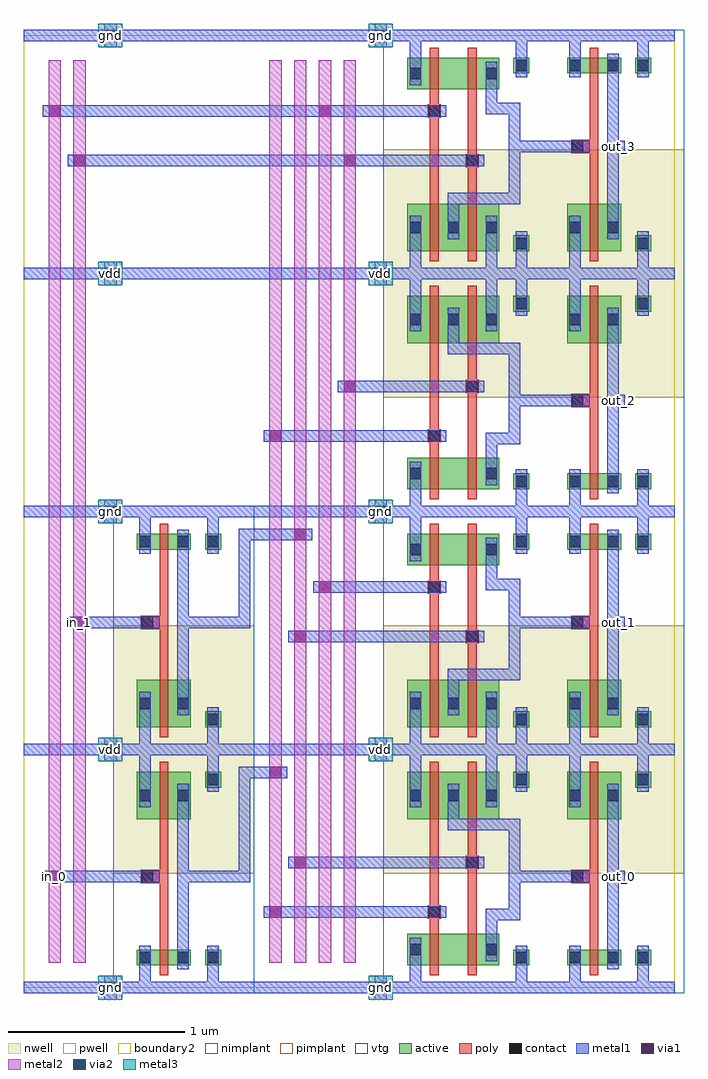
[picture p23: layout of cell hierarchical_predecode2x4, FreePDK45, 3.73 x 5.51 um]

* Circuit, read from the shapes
.subckt hierarchical_predecode2x4 gnd in_0 in_1 out_0 out_1 out_2 out_3 vdd
M1 and2_dec_2/A in_0 gnd gnd nfet w=0.09u l=0.05u
M2 and2_dec_2/B in_1 gnd gnd nfet w=0.09u l=0.05u
M3 and2_dec_2/pnand2_0/nmos_m1_w0_180_sm1_dactive_2/D and2_dec_2/A gnd gnd nfet w=0.18u l=0.05u
M4 and2_dec_3/pnand2_0/nmos_m1_w0_180_sm1_dactive_2/D in_0 gnd gnd nfet w=0.18u l=0.05u
M5 and2_dec_4/pnand2_0/nmos_m1_w0_180_sm1_dactive_2/D and2_dec_2/A gnd gnd nfet w=0.18u l=0.05u
M6 and2_dec_5/pnand2_0/nmos_m1_w0_180_sm1_dactive_2/D in_0 gnd gnd nfet w=0.18u l=0.05u
M7 and2_dec_2/pinv_1/A and2_dec_2/B and2_dec_2/pnand2_0/nmos_m1_w0_180_sm1_dactive_2/D gnd nfet w=0.18u l=0.05u
M8 and2_dec_3/pinv_1/A and2_dec_2/B and2_dec_3/pnand2_0/nmos_m1_w0_180_sm1_dactive_2/D gnd nfet w=0.18u l=0.05u
M9 and2_dec_4/pinv_1/A in_1 and2_dec_4/pnand2_0/nmos_m1_w0_180_sm1_dactive_2/D gnd nfet w=0.18u l=0.05u
M10 and2_dec_5/pinv_1/A in_1 and2_dec_5/pnand2_0/nmos_m1_w0_180_sm1_dactive_2/D gnd nfet w=0.18u l=0.05u
M11 out_0 and2_dec_2/pinv_1/A gnd gnd nfet w=0.09u l=0.05u
M12 out_1 and2_dec_3/pinv_1/A gnd gnd nfet w=0.09u l=0.05u
M13 out_2 and2_dec_4/pinv_1/A gnd gnd nfet w=0.09u l=0.05u
M14 out_3 and2_dec_5/pinv_1/A gnd gnd nfet w=0.09u l=0.05u
M15 and2_dec_2/A in_0 vdd vdd pfet w=0.27u l=0.05u
M16 and2_dec_2/B in_1 vdd vdd pfet w=0.27u l=0.05u
M17 and2_dec_2/pinv_1/A and2_dec_2/A vdd vdd pfet w=0.27u l=0.05u
M18 and2_dec_3/pinv_1/A in_0 vdd vdd pfet w=0.27u l=0.05u
M19 and2_dec_4/pinv_1/A and2_dec_2/A vdd vdd pfet w=0.27u l=0.05u
M20 and2_dec_5/pinv_1/A in_0 vdd vdd pfet w=0.27u l=0.05u
M21 vdd and2_dec_2/B and2_dec_2/pinv_1/A vdd pfet w=0.27u l=0.05u
M22 vdd and2_dec_2/B and2_dec_3/pinv_1/A vdd pfet w=0.27u l=0.05u
M23 vdd in_1 and2_dec_4/pinv_1/A vdd pfet w=0.27u l=0.05u
M24 vdd in_1 and2_dec_5/pinv_1/A vdd pfet w=0.27u l=0.05u
M25 out_0 and2_dec_2/pinv_1/A vdd vdd pfet w=0.27u l=0.05u
M26 out_1 and2_dec_3/pinv_1/A vdd vdd pfet w=0.27u l=0.05u
M27 out_2 and2_dec_4/pinv_1/A vdd vdd pfet w=0.27u l=0.05u
M28 out_3 and2_dec_5/pinv_1/A vdd vdd pfet w=0.27u l=0.05u
.ends

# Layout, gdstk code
import gdstk
lib = gdstk.Library(unit=1e-6, precision=5e-10)
def R(c, l, rs):  # rectangles x0, y0, x1, y1
    for r in rs: c.add(gdstk.rectangle(r[:2], r[2:], *l))
def A(c, l, x, y, w, h, nx, ny, dx, dy):  # array of equal rectangles
    R(c, l, [(x+i*dx, y+j*dy, x+i*dx+w, y+j*dy+h) for i in range(nx) for j in range(ny)])
active = (1, 0)
pwell = (2, 0)
nwell = (3, 0)
nimplant = (4, 0)
pimplant = (5, 0)
vtg = (6, 0)
poly = (9, 0)
contact = (10, 0)
metal1 = (11, 0)
via1 = (12, 0)
metal2 = (13, 0)
via2 = (14, 0)
metal3 = (15, 0)
boundary2 = (239, 0)

contact_9 = lib.new_cell('contact_9')
R(contact_9, active, [(0,0.0225,0.09,0.1125)])
R(contact_9, nwell, [(-0.055,-0.0325,0.145,0.1675)])
R(contact_9, pimplant, [(0,0.0225,0.09,0.1125)])
R(contact_9, contact, [(0.0125,0.035,0.0775,0.1)])
R(contact_9, metal1, [(0.0125,0,0.0775,0.135)])
R(contact_9, boundary2, [(-0.055,-0.0325,0.145,0.1675)])

pmos_m1_w0_270_sm1_dm1_d = lib.new_cell('pmos_m1_w0_270_sm1_dm1_da_p')
R(pmos_m1_w0_270_sm1_dm1_d, active, [(0,0,0.305,0.27)])
R(pmos_m1_w0_270_sm1_dm1_d, nwell, [(-0.08,-0.08,0.385,0.35)])
R(pmos_m1_w0_270_sm1_dm1_d, pimplant, [(0,0,0.305,0.27)])
R(pmos_m1_w0_270_sm1_dm1_d, vtg, [(-0.08,-0.08,0.385,0.35)])
R(pmos_m1_w0_270_sm1_dm1_d, poly, [(0.1275,-0.055,0.1775,0.325), (0.1275,-0.055,0.1775,0.325)])
R(pmos_m1_w0_270_sm1_dm1_d, metal1, [(0.0125,0.0675,0.0775,0.2025), (0.2275,0.0675,0.2925,0.2025)])
R(pmos_m1_w0_270_sm1_dm1_d, boundary2, [(-0.08,-0.08,0.385,0.35)])
pmos_m1_w0_270_sm1_dm1_d.add(gdstk.Reference(contact_9, (0,0.0675)))
pmos_m1_w0_270_sm1_dm1_d.add(gdstk.Reference(contact_9, (0.215,0.0675)))
pmos_m1_w0_270_sm1_dm1_d.add(gdstk.Label('G', (0.1525,0.135), layer=9, texttype=0))
pmos_m1_w0_270_sm1_dm1_d.add(gdstk.Label('S', (0.045,0.135), layer=11, texttype=0))
pmos_m1_w0_270_sm1_dm1_d.add(gdstk.Label('D', (0.26,0.135), layer=11, texttype=0))

contact_14 = lib.new_cell('contact_14')
R(contact_14, active, [(0,0.0225,0.09,0.1125)])
R(contact_14, pwell, [(-0.055,-0.0325,0.145,0.1675)])
R(contact_14, nimplant, [(0,0.0225,0.09,0.1125)])
R(contact_14, contact, [(0.0125,0.035,0.0775,0.1)])
R(contact_14, metal1, [(0.0125,0,0.0775,0.135)])
R(contact_14, boundary2, [(-0.055,-0.0325,0.145,0.1675)])

nmos_m1_w0_090_sm1_dm1_d = lib.new_cell('nmos_m1_w0_090_sm1_dm1_da_p')
R(nmos_m1_w0_090_sm1_dm1_d, active, [(0,0,0.305,0.09)])
R(nmos_m1_w0_090_sm1_dm1_d, pwell, [(-0.08,-0.08,0.385,0.17)])
R(nmos_m1_w0_090_sm1_dm1_d, nimplant, [(0,0,0.305,0.09)])
R(nmos_m1_w0_090_sm1_dm1_d, vtg, [(-0.08,-0.08,0.385,0.17)])
R(nmos_m1_w0_090_sm1_dm1_d, poly, [(0.1275,-0.055,0.1775,0.145), (0.1275,-0.055,0.1775,0.145)])
R(nmos_m1_w0_090_sm1_dm1_d, metal1, [(0.0125,-0.0225,0.0775,0.1125), (0.2275,-0.0225,0.2925,0.1125)])
R(nmos_m1_w0_090_sm1_dm1_d, boundary2, [(-0.08,-0.08,0.385,0.17)])
nmos_m1_w0_090_sm1_dm1_d.add(gdstk.Reference(contact_14, (0,-0.0225)))
nmos_m1_w0_090_sm1_dm1_d.add(gdstk.Reference(contact_14, (0.215,-0.0225)))
nmos_m1_w0_090_sm1_dm1_d.add(gdstk.Label('G', (0.1525,0.045), layer=9, texttype=0))
nmos_m1_w0_090_sm1_dm1_d.add(gdstk.Label('S', (0.045,0.045), layer=11, texttype=0))
nmos_m1_w0_090_sm1_dm1_d.add(gdstk.Label('D', (0.26,0.045), layer=11, texttype=0))

contact_18 = lib.new_cell('contact_18')
R(contact_18, active, [(0,0.0225,0.09,0.1125)])
R(contact_18, nwell, [(-0.055,-0.0325,0.145,0.1675)])
R(contact_18, nimplant, [(0,0.0225,0.09,0.1125)])
R(contact_18, contact, [(0.0125,0.035,0.0775,0.1)])
R(contact_18, metal1, [(0.0125,0,0.0775,0.135)])
R(contact_18, boundary2, [(-0.055,-0.0325,0.145,0.1675)])

contact_19 = lib.new_cell('contact_19')
R(contact_19, active, [(0,0.0225,0.09,0.1125)])
R(contact_19, pwell, [(-0.055,-0.0325,0.145,0.1675)])
R(contact_19, pimplant, [(0,0.0225,0.09,0.1125)])
R(contact_19, contact, [(0.0125,0.035,0.0775,0.1)])
R(contact_19, metal1, [(0.0125,0,0.0775,0.135)])
R(contact_19, boundary2, [(-0.055,-0.0325,0.145,0.1675)])

contact_10 = lib.new_cell('contact_10')
R(contact_10, poly, [(0.03,0,0.105,0.075)])
R(contact_10, contact, [(0.035,0.005,0.1,0.07)])
R(contact_10, metal1, [(0,0.005,0.135,0.07)])
R(contact_10, boundary2, [(0,0,0.135,0.075)])

pinv = lib.new_cell('pinv')
R(pinv, pwell, [(-0.055,-0.0325,0.7425,0.645)])
R(pinv, nwell, [(-0.055,0.645,0.7425,1.38)])
R(pinv, vtg, [(-0.055,-0.0325,0.7425,0.645), (-0.055,0.645,0.7425,1.38)])
R(pinv, poly, [(0.2075,0.27,0.2575,0.895), (0.14,0.59,0.2075,0.665)])
R(pinv, metal1, [(0,-0.0325,0.6875,0.0325), (0.0925,-0.0325,0.1575,0.1025), (0.4775,0,0.5425,0.17), (0.3075,0.1025,0.3725,1.1525), (0.0725,0.595,0.2075,0.66), (0.34,0.595,0.405,0.66), (0.0925,1.0175,0.1575,1.3775), (0.4775,1.175,0.5425,1.345), (0,1.3125,0.6875,1.3775)])
R(pinv, boundary2, [(0,0,0.6875,1.345), (0,0,0.6875,1.345)])
pinv.add(gdstk.Reference(pmos_m1_w0_270_sm1_dm1_d, (0.08,0.95)))
pinv.add(gdstk.Reference(nmos_m1_w0_090_sm1_dm1_d, (0.08,0.125)))
pinv.add(gdstk.Reference(contact_18, (0.465,1.1075)))
pinv.add(gdstk.Reference(contact_19, (0.465,0.1025)))
pinv.add(gdstk.Reference(contact_10, (0.0725,0.59)))
pinv.add(gdstk.Label('A', (0.14,0.6275), layer=11, texttype=0))
pinv.add(gdstk.Label('Z', (0.3725,0.6275), layer=11, texttype=0))
pinv.add(gdstk.Label('gnd', (0.344,0), layer=11, texttype=0))
pinv.add(gdstk.Label('vdd', (0.344,1.345), layer=11, texttype=0))

pmos_m1_w0_270_sm1_dm1 = lib.new_cell('pmos_m1_w0_270_sm1_dm1')
R(pmos_m1_w0_270_sm1_dm1, active, [(0,0,0.305,0.27)])
R(pmos_m1_w0_270_sm1_dm1, nwell, [(-0.08,-0.08,0.385,0.35)])
R(pmos_m1_w0_270_sm1_dm1, pimplant, [(0,0,0.305,0.27)])
R(pmos_m1_w0_270_sm1_dm1, vtg, [(-0.08,-0.08,0.385,0.35)])
R(pmos_m1_w0_270_sm1_dm1, poly, [(0.1275,-0.055,0.1775,0.325), (0.1275,-0.055,0.1775,0.325)])
R(pmos_m1_w0_270_sm1_dm1, metal1, [(0.0125,0.0675,0.0775,0.2025), (0.2275,0.0675,0.2925,0.2025)])
R(pmos_m1_w0_270_sm1_dm1, boundary2, [(-0.08,-0.08,0.385,0.35)])
pmos_m1_w0_270_sm1_dm1.add(gdstk.Reference(contact_9, (0,0.0675)))
pmos_m1_w0_270_sm1_dm1.add(gdstk.Reference(contact_9, (0.215,0.0675)))
pmos_m1_w0_270_sm1_dm1.add(gdstk.Label('G', (0.1525,0.135), layer=9, texttype=0))
pmos_m1_w0_270_sm1_dm1.add(gdstk.Label('S', (0.045,0.135), layer=11, texttype=0))
pmos_m1_w0_270_sm1_dm1.add(gdstk.Label('D', (0.26,0.135), layer=11, texttype=0))

nmos_m1_w0_180_sm1_dacti = lib.new_cell('nmos_m1_w0_180_sm1_dactive')
R(nmos_m1_w0_180_sm1_dacti, active, [(0,0,0.305,0.18), (0.215,0.045,0.305,0.135)])
R(nmos_m1_w0_180_sm1_dacti, pwell, [(-0.08,-0.08,0.385,0.26)])
R(nmos_m1_w0_180_sm1_dacti, nimplant, [(0,0,0.305,0.18)])
R(nmos_m1_w0_180_sm1_dacti, vtg, [(-0.08,-0.08,0.385,0.26)])
R(nmos_m1_w0_180_sm1_dacti, poly, [(0.1275,-0.055,0.1775,0.235), (0.1275,-0.055,0.1775,0.235)])
R(nmos_m1_w0_180_sm1_dacti, metal1, [(0.0125,0.0225,0.0775,0.1575)])
R(nmos_m1_w0_180_sm1_dacti, boundary2, [(-0.08,-0.08,0.385,0.26)])
nmos_m1_w0_180_sm1_dacti.add(gdstk.Reference(contact_14, (0,0.0225)))
nmos_m1_w0_180_sm1_dacti.add(gdstk.Label('G', (0.1525,0.09), layer=9, texttype=0))
nmos_m1_w0_180_sm1_dacti.add(gdstk.Label('S', (0.045,0.09), layer=11, texttype=0))
nmos_m1_w0_180_sm1_dacti.add(gdstk.Label('D', (0.26,0.09), layer=1, texttype=0))

nmos_m1_w0_180_sactive_d = lib.new_cell('nmos_m1_w0_180_sactive_dm1')
R(nmos_m1_w0_180_sactive_d, active, [(0,0,0.305,0.18), (0,0.045,0.09,0.135)])
R(nmos_m1_w0_180_sactive_d, pwell, [(-0.08,-0.08,0.385,0.26)])
R(nmos_m1_w0_180_sactive_d, nimplant, [(0,0,0.305,0.18)])
R(nmos_m1_w0_180_sactive_d, vtg, [(-0.08,-0.08,0.385,0.26)])
R(nmos_m1_w0_180_sactive_d, poly, [(0.1275,-0.055,0.1775,0.235), (0.1275,-0.055,0.1775,0.235)])
R(nmos_m1_w0_180_sactive_d, metal1, [(0.2275,0.0225,0.2925,0.1575)])
R(nmos_m1_w0_180_sactive_d, boundary2, [(-0.08,-0.08,0.385,0.26)])
nmos_m1_w0_180_sactive_d.add(gdstk.Reference(contact_14, (0.215,0.0225)))
nmos_m1_w0_180_sactive_d.add(gdstk.Label('G', (0.1525,0.09), layer=9, texttype=0))
nmos_m1_w0_180_sactive_d.add(gdstk.Label('S', (0.045,0.09), layer=1, texttype=0))
nmos_m1_w0_180_sactive_d.add(gdstk.Label('D', (0.26,0.09), layer=11, texttype=0))

pnand2 = lib.new_cell('pnand2')
R(pnand2, pwell, [(-0.055,-0.0325,0.9575,0.645)])
R(pnand2, nwell, [(-0.055,0.645,0.9575,1.38)])
R(pnand2, vtg, [(-0.055,-0.0325,0.9575,0.645), (-0.055,0.645,0.9575,1.38)])
R(pnand2, poly, [(0.2075,0.36,0.2575,0.895), (0.4225,0.36,0.4725,0.895), (0.2075,0.39,0.2325,0.465), (0.4225,0.67,0.4475,0.745)])
R(pnand2, metal1, [(0,-0.0325,0.9025,0.0325), (0.0925,-0.0325,0.1575,0.1475), (0.6925,0,0.7575,0.17), (0.5225,0.2825,0.5875,0.4125), (0.5225,0.38,0.5875,0.445), (0.555,0.38,0.685,0.445), (0.6525,0.38,0.7175,0.445), (0.165,0.395,0.3,0.46), (0.6525,0.4125,0.7175,0.92), (0.38,0.675,0.515,0.74), (0.3075,0.8875,0.3725,0.9525), (0.34,0.8875,0.685,0.9525), (0.6525,0.8875,0.7175,0.9525), (0.3075,0.92,0.3725,1.0175), (0.0925,1.0175,0.1575,1.3775), (0.5225,1.0175,0.5875,1.3775), (0.6925,1.175,0.7575,1.345), (0,1.3125,0.9025,1.3775)])
R(pnand2, boundary2, [(0,0,0.9025,1.345), (0,0,0.9025,1.345)])
pnand2.add(gdstk.Reference(pmos_m1_w0_270_sm1_dm1, (0.08,0.95)))
pnand2.add(gdstk.Reference(pmos_m1_w0_270_sm1_dm1, (0.295,0.95)))
pnand2.add(gdstk.Reference(nmos_m1_w0_180_sm1_dacti, (0.08,0.125)))
pnand2.add(gdstk.Reference(nmos_m1_w0_180_sactive_d, (0.295,0.125)))
pnand2.add(gdstk.Reference(contact_18, (0.68,1.1075)))
pnand2.add(gdstk.Reference(contact_19, (0.68,0.1025)))
pnand2.add(gdstk.Reference(contact_10, (0.165,0.39)))
pnand2.add(gdstk.Reference(contact_10, (0.38,0.67)))
pnand2.add(gdstk.Label('Z', (0.685,0.92), layer=11, texttype=0))
pnand2.add(gdstk.Label('gnd', (0.451,0), layer=11, texttype=0))
pnand2.add(gdstk.Label('vdd', (0.451,1.345), layer=11, texttype=0))
pnand2.add(gdstk.Label('A', (0.2325,0.4275), layer=11, texttype=0))
pnand2.add(gdstk.Label('B', (0.4475,0.7075), layer=11, texttype=0))

and2_dec = lib.new_cell('and2_dec')
R(and2_dec, metal1, [(0,-0.0325,1.59,0.0325), (0.165,0.395,0.3,0.46), (0.6525,0.595,0.7175,0.66), (0.685,0.595,1.0425,0.66), (1.2425,0.595,1.3075,0.66), (0.6525,0.6275,0.7175,0.92), (0.38,0.675,0.515,0.74), (0,1.3125,1.59,1.3775)])
R(and2_dec, boundary2, [(0,0,1.59,1.345)])
and2_dec.add(gdstk.Reference(pnand2, (0,0)))
and2_dec.add(gdstk.Reference(pinv, (0.9025,0)))
and2_dec.add(gdstk.Label('Z', (1.275,0.6275), layer=11, texttype=0))
and2_dec.add(gdstk.Label('A', (0.2325,0.4275), layer=11, texttype=0))
and2_dec.add(gdstk.Label('B', (0.4475,0.7075), layer=11, texttype=0))
and2_dec.add(gdstk.Label('gnd', (0.795,0), layer=11, texttype=0))
and2_dec.add(gdstk.Label('vdd', (0.795,1.345), layer=11, texttype=0))

contact_17 = lib.new_cell('contact_17')
R(contact_17, metal1, [(0,0.035,0.135,0.1)])
R(contact_17, via1, [(0.035,0.035,0.1,0.1)])
R(contact_17, metal2, [(0.0325,0,0.1025,0.135)])
R(contact_17, boundary2, [(0,0,0.135,0.135)])

contact_6 = lib.new_cell('contact_6')
R(contact_6, metal1, [(0,0.035,0.135,0.1)])
R(contact_6, via1, [(0.035,0.035,0.1,0.1)])
R(contact_6, metal2, [(0.0325,0,0.1025,0.135)])
R(contact_6, boundary2, [(0,0,0.135,0.135)])

contact_7 = lib.new_cell('contact_7')
R(contact_7, metal2, [(0.0325,0,0.1025,0.135)])
R(contact_7, via2, [(0.035,0.035,0.1,0.1)])
R(contact_7, metal3, [(0,0.0325,0.135,0.1025)])
R(contact_7, boundary2, [(0,0,0.135,0.135)])

hierarchical_predecode2x = lib.new_cell('hierarchical_predecode2x4')
R(hierarchical_predecode2x, metal1, [(0,-0.0325,3.6775,0.0325), (1.4225,0.395,2.32,0.46), (2.2875,0.395,2.3525,0.46), (0.175,0.595,0.7,0.66), (0.6675,0.595,0.7325,0.66), (0.9325,0.595,0.9975,0.66), (0.965,0.595,1.2475,0.66), (1.215,0.595,1.28,0.66), (3.33,0.595,3.395,0.66), (1.215,0.6275,1.28,1.215), (1.5625,0.675,2.535,0.74), (2.5025,0.675,2.5675,0.74), (1.215,1.1825,1.28,1.2475), (1.2475,1.1825,1.4225,1.2475), (0,1.3125,3.6775,1.3775), (0,1.3125,3.6775,1.3775), (1.5625,1.95,2.535,2.015), (2.5025,1.95,2.5675,2.015), (0.315,2.03,0.7,2.095), (0.6675,2.03,0.7325,2.095), (0.9325,2.03,0.9975,2.095), (0.965,2.03,1.2475,2.095), (1.215,2.03,1.28,2.095), (3.33,2.03,3.395,2.095), (1.215,2.0625,1.28,2.56), (1.7025,2.23,2.32,2.295), (2.2875,2.23,2.3525,2.295), (1.215,2.5275,1.28,2.5925), (1.2475,2.5275,1.5625,2.5925), (0,2.6575,3.6775,2.7225), (0,2.6575,3.6775,2.7225), (1.4225,3.085,2.32,3.15), (2.2875,3.085,2.3525,3.15), (3.33,3.285,3.395,3.35), (1.8425,3.365,2.535,3.43), (2.5025,3.365,2.5675,3.43), (0,4.0025,3.6775,4.0675), (0,4.0025,3.6775,4.0675), (0.315,4.64,1.8425,4.705), (1.8425,4.64,2.535,4.705), (2.5025,4.64,2.5675,4.705), (3.33,4.72,3.395,4.785), (0.175,4.92,1.7025,4.985), (1.7025,4.92,2.32,4.985), (2.2875,4.92,2.3525,4.985), (0,5.3475,3.6775,5.4125)])
A(hierarchical_predecode2x, metal2, 1.3875, 0.14, 0.07, 5.1, 4, 1, 0.14, 0)
R(hierarchical_predecode2x, metal2, [(0.14,0.14,0.21,5.24), (0.28,0.14,0.35,5.24), (0.14,0.56,0.21,0.695), (0.28,1.995,0.35,2.13)])
A(hierarchical_predecode2x, metal3, 0.4225, -0.0675, 0.135, 0.135, 1, 5, 0, 1.345)
A(hierarchical_predecode2x, metal3, 1.95, -0.0675, 0.135, 0.135, 1, 5, 0, 1.345)
R(hierarchical_predecode2x, boundary2, [(0,0,3.6775,5.38)])
hierarchical_predecode2x.add(gdstk.Reference(pinv, (0.56,0)))
hierarchical_predecode2x.add(gdstk.Reference(pinv, (0.56,2.69), x_reflection=True))
hierarchical_predecode2x.add(gdstk.Reference(and2_dec, (2.0875,0)))
hierarchical_predecode2x.add(gdstk.Reference(and2_dec, (2.0875,2.69), x_reflection=True))
hierarchical_predecode2x.add(gdstk.Reference(and2_dec, (2.0875,2.69)))
hierarchical_predecode2x.add(gdstk.Reference(and2_dec, (2.0875,5.38), x_reflection=True))
hierarchical_predecode2x.add(gdstk.Reference(contact_17, (1.355,1.1475)))
hierarchical_predecode2x.add(gdstk.Reference(contact_6, (0.1075,0.56)))
hierarchical_predecode2x.add(gdstk.Reference(contact_17, (1.495,2.4925)))
hierarchical_predecode2x.add(gdstk.Reference(contact_6, (0.2475,1.995)))
hierarchical_predecode2x.add(gdstk.Reference(contact_6, (0.1075,4.885)))
hierarchical_predecode2x.add(gdstk.Reference(contact_6, (1.635,4.885)))
hierarchical_predecode2x.add(gdstk.Reference(contact_6, (0.2475,4.605)))
hierarchical_predecode2x.add(gdstk.Reference(contact_6, (1.775,4.605)))
hierarchical_predecode2x.add(gdstk.Reference(contact_17, (1.355,0.36)))
hierarchical_predecode2x.add(gdstk.Reference(contact_17, (1.495,0.64)))
hierarchical_predecode2x.add(gdstk.Reference(contact_17, (1.635,2.195)))
hierarchical_predecode2x.add(gdstk.Reference(contact_17, (1.495,1.915)))
hierarchical_predecode2x.add(gdstk.Reference(contact_17, (1.355,3.05)))
hierarchical_predecode2x.add(gdstk.Reference(contact_17, (1.775,3.33)))
hierarchical_predecode2x.add(gdstk.Reference(contact_17, (1.635,4.885)))
hierarchical_predecode2x.add(gdstk.Reference(contact_17, (1.775,4.605)))
hierarchical_predecode2x.add(gdstk.Reference(contact_6, (0.4225,1.2775)))
hierarchical_predecode2x.add(gdstk.Reference(contact_7, (0.4225,1.2775)))
hierarchical_predecode2x.add(gdstk.Reference(contact_6, (1.95,1.2775)))
hierarchical_predecode2x.add(gdstk.Reference(contact_7, (1.95,1.2775)))
hierarchical_predecode2x.add(gdstk.Reference(contact_6, (0.4225,-0.0675)))
hierarchical_predecode2x.add(gdstk.Reference(contact_7, (0.4225,-0.0675)))
hierarchical_predecode2x.add(gdstk.Reference(contact_6, (1.95,-0.0675)))
hierarchical_predecode2x.add(gdstk.Reference(contact_7, (1.95,-0.0675)))
hierarchical_predecode2x.add(gdstk.Reference(contact_6, (0.4225,1.2775)))
hierarchical_predecode2x.add(gdstk.Reference(contact_7, (0.4225,1.2775)))
hierarchical_predecode2x.add(gdstk.Reference(contact_6, (1.95,1.2775)))
hierarchical_predecode2x.add(gdstk.Reference(contact_7, (1.95,1.2775)))
hierarchical_predecode2x.add(gdstk.Reference(contact_6, (0.4225,2.6225)))
hierarchical_predecode2x.add(gdstk.Reference(contact_7, (0.4225,2.6225)))
hierarchical_predecode2x.add(gdstk.Reference(contact_6, (1.95,2.6225)))
hierarchical_predecode2x.add(gdstk.Reference(contact_7, (1.95,2.6225)))
hierarchical_predecode2x.add(gdstk.Reference(contact_6, (0.4225,3.9675)))
hierarchical_predecode2x.add(gdstk.Reference(contact_7, (0.4225,3.9675)))
hierarchical_predecode2x.add(gdstk.Reference(contact_6, (1.95,3.9675)))
hierarchical_predecode2x.add(gdstk.Reference(contact_7, (1.95,3.9675)))
hierarchical_predecode2x.add(gdstk.Reference(contact_6, (0.4225,2.6225)))
hierarchical_predecode2x.add(gdstk.Reference(contact_7, (0.4225,2.6225)))
hierarchical_predecode2x.add(gdstk.Reference(contact_6, (1.95,2.6225)))
hierarchical_predecode2x.add(gdstk.Reference(contact_7, (1.95,2.6225)))
hierarchical_predecode2x.add(gdstk.Reference(contact_6, (0.4225,3.9675)))
hierarchical_predecode2x.add(gdstk.Reference(contact_7, (0.4225,3.9675)))
hierarchical_predecode2x.add(gdstk.Reference(contact_6, (1.95,3.9675)))
hierarchical_predecode2x.add(gdstk.Reference(contact_7, (1.95,3.9675)))
hierarchical_predecode2x.add(gdstk.Reference(contact_6, (0.4225,5.3125)))
hierarchical_predecode2x.add(gdstk.Reference(contact_7, (0.4225,5.3125)))
hierarchical_predecode2x.add(gdstk.Reference(contact_6, (1.95,5.3125)))
hierarchical_predecode2x.add(gdstk.Reference(contact_7, (1.95,5.3125)))
hierarchical_predecode2x.add(gdstk.Label('in_0', (0.175,0.6275), layer=13, texttype=0))
hierarchical_predecode2x.add(gdstk.Label('in_1', (0.315,2.0625), layer=13, texttype=0))
hierarchical_predecode2x.add(gdstk.Label('out_0', (3.3625,0.6275), layer=11, texttype=0))
hierarchical_predecode2x.add(gdstk.Label('out_1', (3.3625,2.0625), layer=11, texttype=0))
hierarchical_predecode2x.add(gdstk.Label('out_2', (3.3625,3.3175), layer=11, texttype=0))
hierarchical_predecode2x.add(gdstk.Label('out_3', (3.3625,4.7525), layer=11, texttype=0))
hierarchical_predecode2x.add(gdstk.Label('vdd', (0.49,4.035), layer=15, texttype=0))
hierarchical_predecode2x.add(gdstk.Label('vdd', (0.49,1.345), layer=15, texttype=0))
hierarchical_predecode2x.add(gdstk.Label('vdd', (2.0175,4.035), layer=15, texttype=0))
hierarchical_predecode2x.add(gdstk.Label('vdd', (2.0175,1.345), layer=15, texttype=0))
hierarchical_predecode2x.add(gdstk.Label('gnd', (0.49,2.69), layer=15, texttype=0))
hierarchical_predecode2x.add(gdstk.Label('gnd', (2.0175,5.38), layer=15, texttype=0))
hierarchical_predecode2x.add(gdstk.Label('gnd', (0.49,5.38), layer=15, texttype=0))
hierarchical_predecode2x.add(gdstk.Label('gnd', (0.49,0), layer=15, texttype=0))
hierarchical_predecode2x.add(gdstk.Label('gnd', (2.0175,0), layer=15, texttype=0))
hierarchical_predecode2x.add(gdstk.Label('gnd', (2.0175,2.69), layer=15, texttype=0))

lib.write_gds('hierarchical_predecode2x4.gds')
